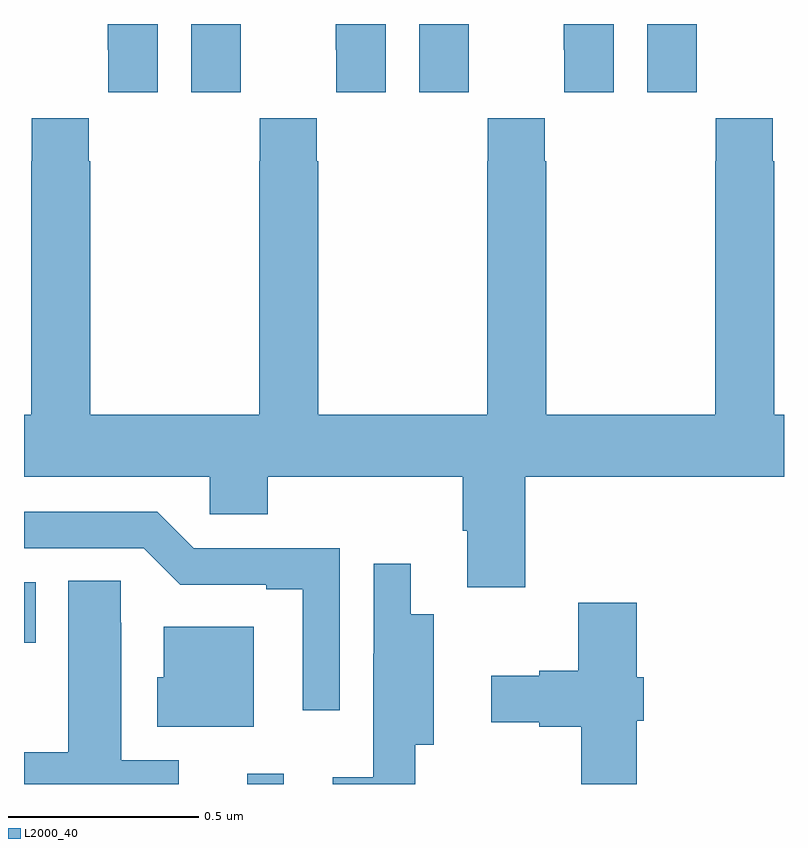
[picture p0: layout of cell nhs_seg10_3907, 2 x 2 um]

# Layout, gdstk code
import gdstk
lib = gdstk.Library(unit=1e-6, precision=1e-09)
def R(c, l, rs):  # rectangles x0, y0, x1, y1
    for r in rs: c.add(gdstk.rectangle(r[:2], r[2:], *l))
def P(c, l, *ps):  # polygons
    for p in ps: c.add(gdstk.Polygon(p, *l))
L2000_40 = (2000, 40)

nhs_seg10_3907 = lib.new_cell('nhs_seg10_3907')
R(nhs_seg10_3907, L2000_40, [(159.587,1307.5,159.684,1307.527), (159,1307.872,159.031,1308.031)])
P(nhs_seg10_3907, L2000_40, [(159.352,1309.5),(159.221,1309.5),(159.221,1309.432),(159.222,1309.432),(159.222,1309.32),(159.352,1309.32)],
  [(159.57,1309.432),(159.571,1309.432),(159.571,1309.5),(159.44,1309.5),(159.44,1309.32),(159.57,1309.32)],
  [(159.952,1309.5),(159.821,1309.5),(159.821,1309.432),(159.822,1309.432),(159.822,1309.32),(159.952,1309.32)],
  [(160.17,1309.432),(160.171,1309.432),(160.171,1309.5),(160.04,1309.5),(160.04,1309.32),(160.17,1309.32)],
  [(160.552,1309.5),(160.421,1309.5),(160.421,1309.432),(160.422,1309.432),(160.422,1309.32),(160.552,1309.32)],
  [(160.77,1309.432),(160.771,1309.432),(160.771,1309.5),(160.64,1309.5),(160.64,1309.32),(160.77,1309.32)],
  [(160.319,1308.308),(161,1308.308),(161,1308.472),(160.974,1308.472),(160.974,1309.139),(160.971,1309.139),(160.971,1309.252),(160.821,1309.252),(160.821,1309.139),(160.819,1309.139),(160.819,1308.472),(160.374,1308.472),(160.374,1309.139),(160.371,1309.139),(160.371,1309.252),(160.221,1309.252),(160.221,1309.139),(160.219,1309.139),(160.219,1308.472),(159.774,1308.472),(159.774,1309.139),(159.771,1309.139),(159.771,1309.252),(159.621,1309.252),(159.621,1309.139),(159.619,1309.139),(159.619,1308.472),(159.174,1308.472),(159.174,1309.139),(159.171,1309.139),(159.171,1309.252),(159.021,1309.252),(159.021,1309.139),(159.019,1309.139),(159.019,1308.472),(159,1308.472),(159,1308.308),(159.489,1308.308),(159.489,1308.21),(159.641,1308.21),(159.641,1308.308),(160.154,1308.308),(160.154,1308.166),(160.166,1308.166),(160.166,1308.018),(160.319,1308.018)],
  [(159.831,1308.12),(159.447,1308.12),(159.351,1308.216),(159,1308.216),(159,1308.12),(159.315,1308.12),(159.411,1308.024),(159.638,1308.024),(159.638,1308.012),(159.734,1308.012),(159.734,1307.694),(159.831,1307.694)],
  [(160.03,1307.603),(160.078,1307.603),(160.078,1307.947),(160.018,1307.947),(160.018,1308.079),(159.92,1308.079),(159.92,1307.843),(159.919,1307.843),(159.919,1307.518),(159.812,1307.518),(159.812,1307.5),(160.03,1307.5)],
  [(159.407,1307.562),(159.256,1307.562),(159.256,1307.924),(159.255,1307.924),(159.255,1308.035),(159.116,1308.035),(159.116,1307.583),(159,1307.583),(159,1307.5),(159.407,1307.5)],
  [(160.613,1307.667),(160.631,1307.667),(160.631,1307.781),(160.613,1307.781),(160.613,1307.977),(160.459,1307.977),(160.459,1307.798),(160.356,1307.798),(160.356,1307.785),(160.23,1307.785),(160.23,1307.663),(160.356,1307.663),(160.356,1307.651),(160.466,1307.651),(160.466,1307.5),(160.613,1307.5)],
  [(159.604,1307.914),(159.368,1307.914),(159.368,1307.781),(159.35,1307.781),(159.35,1307.651),(159.604,1307.651)])

lib.write_gds('nhs_seg10_3907.gds')
